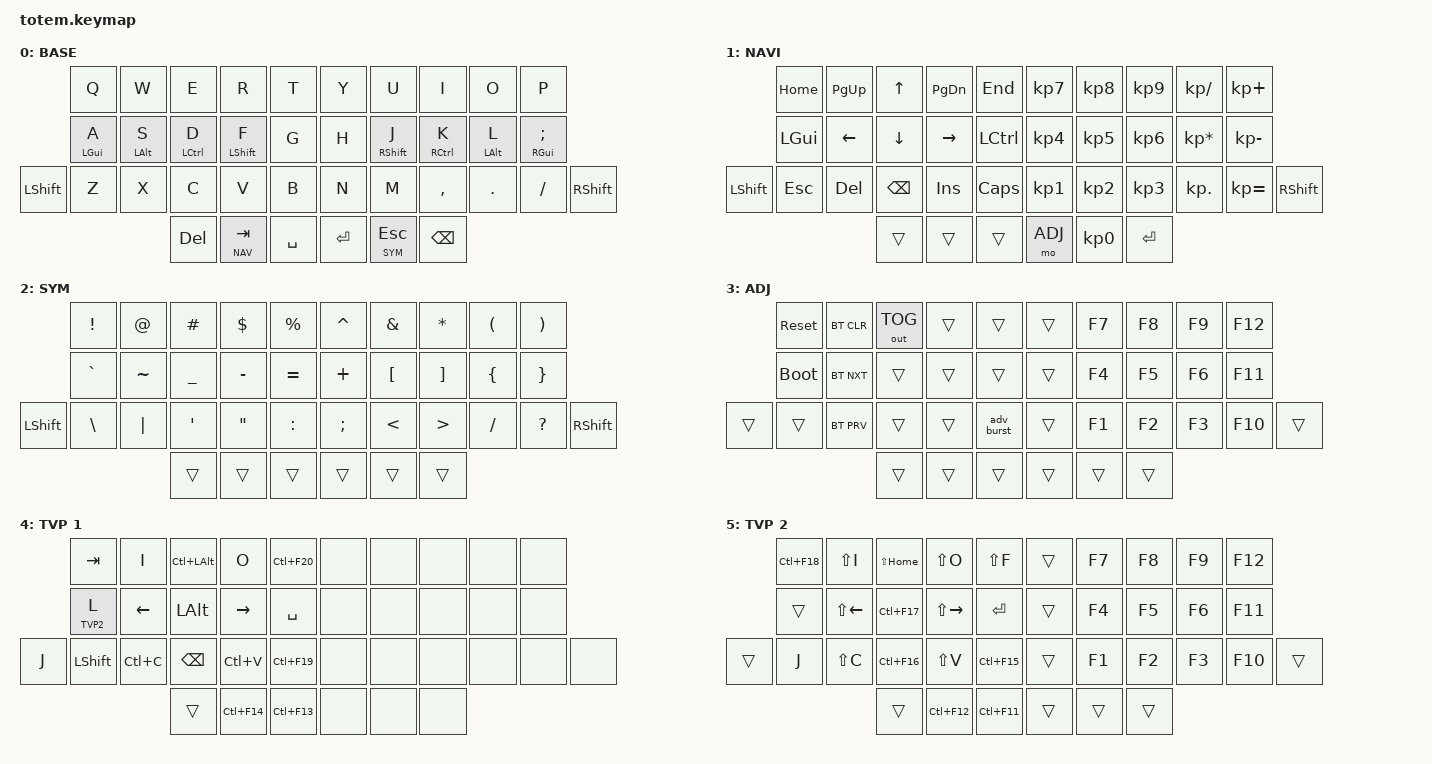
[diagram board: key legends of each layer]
//
//                                                        ▀▀▀▀▀     ▀▀▀▀▀          ▀▀█▀▀
//                                                        ▄▀▀▀▄  ▄  ▄▀▀▀▄  ▄  ▄▀▀▀▄  █  ▄▀▀▀▄
//                                                        █   █  █  █   █  █  █   █  █  █   █
//                                                         ▀▀▀   █   ▀▀▀   █   ▀▀▀   ▀   ▀▀▀
//                                                               █      ▄▄▄█▄▄▄    █   █  
//                                                               ▀      █  █  █     █▄█
//                                                             ▀▀▀▀▀    █  █  █      ▀
//                                                                      ▀  ▀  ▀
//
// ▄▄▄▄▄▄▄▄▄▄▄▄▄▄▄▄▄▄▄▄▄▄▄▄▄▄▄▄▄▄▄▄▄▄▄▄▄▄▄▄▄▄▄▄▄▄▄▄▄▄▄▄▄▄▄▄▄▄▄▄▄▄▄▄▄▄▄▄▄▄▄▄▄▄▄▄▄▄▄▄▄▄▄▄▄▄▄▄▄▄▄▄▄▄▄▄▄▄▄▄▄▄▄▄▄▄▄▄▄▄▄▄▄▄▄▄▄▄▄▄▄▄▄▄▄▄▄▄▄▄▄▄▄▄▄▄▄▄▄▄▄▄▄▄▄▄▄▄▄
       

#include <behaviors.dtsi>
#include <dt-bindings/zmk/keys.h>
#include <dt-bindings/zmk/bt.h>
#include <dt-bindings/zmk/outputs.h>

#define BASE 0
#define NAV  1
#define SYM  2
#define ADJ  3
#define TVP1 4
#define TVP2 5

&mt {
  quick-tap-ms = <100>;
  global-quick-tap;
  flavor = "tap-preferred";
  tapping-term-ms = <170>;
};

/ {
    behaviors {
        // Advertise for 10s without dropping the host connection, so the web status page can find the keyboard
        adv_burst: adv_burst {
            compatible = "totem,behavior-adv-burst";
            #binding-cells = <0>;
            display-name = "Advertise 10s";
            duration-ms = <10000>;
        };
    };

     combos {
            compatible = "zmk,combos";
            combo_esc {
                timeout-ms = <50>;
                key-positions = <0 1>;
                bindings = <&kp ESC>;
            };
            combo_tvp {
                timeout-ms = <100>;
                key-positions = <11 12 13>;
                bindings = <&tog TVP1>;
            };
    };

    macros {
        gif: gif {
            label = "giphy";
            compatible = "zmk,behavior-macro";
            #binding-cells = <0>;
            bindings
                = <&macro_press &kp LSHFT>
                , <&macro_tap &kp N2>
                , <&macro_release &kp LSHFT>
                , <&macro_tap &kp G &kp I &kp F>
                ;
        };
    };

        keymap {
                compatible = "zmk,keymap";
// ▄▄▄▄▄▄▄▄▄▄▄▄▄▄▄▄▄▄▄▄▄▄▄▄▄▄▄▄▄▄▄▄▄▄▄▄▄▄▄▄▄▄▄▄▄▄▄▄▄▄▄▄▄▄▄▄▄▄▄▄▄▄▄▄▄▄▄▄▄▄▄▄▄▄▄▄▄▄▄▄▄▄▄▄▄▄▄▄▄▄▄▄▄▄▄▄▄▄▄▄▄▄▄▄▄▄▄▄▄▄▄▄▄▄▄▄▄▄▄▄▄▄▄▄▄▄▄▄▄▄▄▄▄▄▄▄▄▄▄▄▄▄▄▄▄▄▄▄▄

                base_layer {
// ┏━━━━━━━━━━━━━━━━━━━━━━━━━━━━━━━━━━━━━━━┓
label= "BASE"                              ;
// ┗━━━━━━━━━━━━━━━━━━━━━━━━━━━━━━━━━━━━━━━┛
//             ┏━━━━━━━━━━━┳━━━━━━━━━━━┳━━━━━━━━━━━┳━━━━━━━━━━━┳━━━━━━━━━━━┓   ┏━━━━━━━━━━━┳━━━━━━━━━━━┳━━━━━━━━━━━┳━━━━━━━━━━━┳━━━━━━━━━━━┓
//             ┃     Q     ┃     W     ┃     E     ┃     R     ┃     T     ┃   ┃     Y     ┃     U     ┃     I     ┃     O     ┃     P     ┃
//             ┣━━━━━━━━━━━╋━━━━━━━━━━━╋━━━━━━━━━━━╋━━━━━━━━━━━╋━━━━━━━━━━━┫   ┣━━━━━━━━━━━╋━━━━━━━━━━━╋━━━━━━━━━━━╋━━━━━━━━━━━╋━━━━━━━━━━━┫
//             ┃ A/CMD     ┃ S/OPT     ┃ D/CTRL    ┃ F/SHIFT   ┃     G     ┃   ┃     H     ┃ J/SHIFT   ┃ K/CTRL    ┃ L/OPT     ┃ ;/CMD     ┃
// ┏━━━━━━━━━━━╋━━━━━━━━━━━╋━━━━━━━━━━━╋━━━━━━━━━━━╋━━━━━━━━━━━╋━━━━━━━━━━━┫   ┣━━━━━━━━━━━╋━━━━━━━━━━━╋━━━━━━━━━━━╋━━━━━━━━━━━╋━━━━━━━━━━━╋━━━━━━━━━━━┓
// ┃   SHIFT   ┃     Z     ┃     X     ┃     C     ┃     V     ┃     B     ┃   ┃     N     ┃     M     ┃     ,     ┃     .     ┃     /     ┃   SHIFT   ┃
// ┗━━━━━━━━━━━┻━━━━━━━━━━━┻━━━━━━━━━━━╋━━━━━━━━━━━╋━━━━━━━━━━━╋━━━━━━━━━━━┫   ┣━━━━━━━━━━━╋━━━━━━━━━━━╋━━━━━━━━━━━╋━━━━━━━━━━━┻━━━━━━━━━━━┻━━━━━━━━━━━┛
//                                     ┃    DEL    ┃    TAB    ┃    SPC    ┃   ┃   ENTER   ┃           ┃   BSPC    ┃
//                                     ┗━━━━━━━━━━━┻━━━━━━━━━━━┻━━━━━━━━━━━┛   ┗━━━━━━━━━━━┻━━━━━━━━━━━┻━━━━━━━━━━━┛
 bindings = <
// ╷           ╷           ╷           ╷           ╷           ╷           ╷   ╷           ╷           ╷           ╷           ╷           ╷           ╷

                &kp Q       &kp W       &kp E       &kp R       &kp T           &kp Y       &kp U       &kp I       &kp O       &kp P
                &mt LGUI A  &mt LALT S  &mt LCTRL D &mt LSHFT F &kp G           &kp H       &mt RSHFT J &mt RCTRL K &mt LALT L  &mt RGUI SEMI
    &kp LSHFT   &kp Z       &kp X       &kp C       &kp V       &kp B           &kp N       &kp M       &kp COMMA   &kp DOT     &kp FSLH    &kp RSHFT
                                        &kp DEL   &lt NAV TAB   &kp SPACE       &kp RET   &lt SYM ESC   &kp BSPC
                        >;
                };

// ▄▄▄▄▄▄▄▄▄▄▄▄▄▄▄▄▄▄▄▄▄▄▄▄▄▄▄▄▄▄▄▄▄▄▄▄▄▄▄▄▄▄▄▄▄▄▄▄▄▄▄▄▄▄▄▄▄▄▄▄▄▄▄▄▄▄▄▄▄▄▄▄▄▄▄▄▄▄▄▄▄▄▄▄▄▄▄▄▄▄▄▄▄▄▄▄▄▄▄▄▄▄▄▄▄▄▄▄▄▄▄▄▄▄▄▄▄▄▄▄▄▄▄▄▄▄▄▄▄▄▄▄▄▄▄▄▄▄▄▄▄▄▄▄▄▄▄▄▄


                nav_layer {
// ┏━━━━━━━━━━━━━━━━━━━━━━━━━━━━━━━━━━━━━━━┓
label= "NAVI"                              ;
// ┗━━━━━━━━━━━━━━━━━━━━━━━━━━━━━━━━━━━━━━━┛
//             ┏━━━━━━━━━━━┳━━━━━━━━━━━┳━━━━━━━━━━━┳━━━━━━━━━━━┳━━━━━━━━━━━┓   ┏━━━━━━━━━━━┳━━━━━━━━━━━┳━━━━━━━━━━━┳━━━━━━━━━━━┳━━━━━━━━━━━┓
//             ┃   HOME    ┃  PAGE UP  ┃     UP    ┃ PAGE DOWN ┃    END    ┃   ┃     7     ┃     8     ┃     9     ┃     /     ┃     +     ┃
//             ┣━━━━━━━━━━━╋━━━━━━━━━━━╋━━━━━━━━━━━╋━━━━━━━━━━━╋━━━━━━━━━━━┫   ┣━━━━━━━━━━━╋━━━━━━━━━━━╋━━━━━━━━━━━╋━━━━━━━━━━━╋━━━━━━━━━━━┫
//             ┃  COMMAND  ┃   LEFT    ┃    DOWN   ┃   RIGHT   ┃  CONTROL  ┃   ┃     4     ┃     5     ┃     6     ┃     *     ┃     -     ┃
// ┏━━━━━━━━━━━╋━━━━━━━━━━━╋━━━━━━━━━━━╋━━━━━━━━━━━╋━━━━━━━━━━━╋━━━━━━━━━━━┫   ┣━━━━━━━━━━━╋━━━━━━━━━━━╋━━━━━━━━━━━╋━━━━━━━━━━━╋━━━━━━━━━━━╋━━━━━━━━━━━┓
// ┃   SHIFT   ┃    ESC    ┃    DEL    ┃ BACKSPACE ┃   INSERT  ┃ CAPS LOCK ┃   ┃     1     ┃     2     ┃     3     ┃     .     ┃     =     ┃   SHIFT   ┃
// ┗━━━━━━━━━━━┻━━━━━━━━━━━┻━━━━━━━━━━━╋━━━━━━━━━━━╋━━━━━━━━━━━╋━━━━━━━━━━━┫   ┣━━━━━━━━━━━╋━━━━━━━━━━━╋━━━━━━━━━━━╋━━━━━━━━━━━┻━━━━━━━━━━━┻━━━━━━━━━━━┛
//                                     ┃           ┃           ┃           ┃   ┃    ADJ    ┃     0     ┃   ENTER   ┃
//                                     ┗━━━━━━━━━━━┻━━━━━━━━━━━┻━━━━━━━━━━━┛   ┗━━━━━━━━━━━┻━━━━━━━━━━━┻━━━━━━━━━━━┛
 bindings = <
// ╷           ╷           ╷           ╷           ╷           ╷           ╷   ╷           ╷           ╷           ╷           ╷           ╷           ╷

                &kp HOME    &kp PG_UP   &kp UP      &kp PG_DN   &kp END         &kp KP_N7   &kp KP_N8   &kp KP_N9   &kp KP_DIVIDE &kp KP_PLUS
                &kp LGUI    &kp LEFT    &kp DOWN    &kp RIGHT   &kp LCTRL       &kp KP_N4   &kp KP_N5   &kp KP_N6   &kp KP_MULTIPLY &kp KP_MINUS
    &kp LSHFT   &kp ESC     &kp DEL     &kp BSPC    &kp INS     &kp CAPS        &kp KP_N1   &kp KP_N2   &kp KP_N3   &kp KP_DOT  &kp KP_EQUAL &kp RSHFT
                                        &trans      &trans      &trans          &mo ADJ     &kp KP_N0   &kp RET
                        >;
                };

// ▄▄▄▄▄▄▄▄▄▄▄▄▄▄▄▄▄▄▄▄▄▄▄▄▄▄▄▄▄▄▄▄▄▄▄▄▄▄▄▄▄▄▄▄▄▄▄▄▄▄▄▄▄▄▄▄▄▄▄▄▄▄▄▄▄▄▄▄▄▄▄▄▄▄▄▄▄▄▄▄▄▄▄▄▄▄▄▄▄▄▄▄▄▄▄▄▄▄▄▄▄▄▄▄▄▄▄▄▄▄▄▄▄▄▄▄▄▄▄▄▄▄▄▄▄▄▄▄▄▄▄▄▄▄▄▄▄▄▄▄▄▄▄▄▄▄▄▄▄


                sim_layer {
// ┏━━━━━━━━━━━━━━━━━━━━━━━━━━━━━━━━━━━━━━━┓
label= "SYM"                               ;
// ┗━━━━━━━━━━━━━━━━━━━━━━━━━━━━━━━━━━━━━━━┛
//             ┏━━━━━━━━━━━┳━━━━━━━━━━━┳━━━━━━━━━━━┳━━━━━━━━━━━┳━━━━━━━━━━━┓   ┏━━━━━━━━━━━┳━━━━━━━━━━━┳━━━━━━━━━━━┳━━━━━━━━━━━┳━━━━━━━━━━━┓
//             ┃     !     ┃     @     ┃     #     ┃     $     ┃     %     ┃   ┃     ^     ┃     &     ┃     *     ┃     (     ┃     )     ┃
//             ┣━━━━━━━━━━━╋━━━━━━━━━━━╋━━━━━━━━━━━╋━━━━━━━━━━━╋━━━━━━━━━━━┫   ┣━━━━━━━━━━━╋━━━━━━━━━━━╋━━━━━━━━━━━╋━━━━━━━━━━━╋━━━━━━━━━━━┫
//             ┃     `     ┃     ~     ┃     _     ┃     -     ┃     =     ┃   ┃     +     ┃     [     ┃     ]     ┃     {     ┃     }     ┃
// ┏━━━━━━━━━━━╋━━━━━━━━━━━╋━━━━━━━━━━━╋━━━━━━━━━━━╋━━━━━━━━━━━╋━━━━━━━━━━━┫   ┣━━━━━━━━━━━╋━━━━━━━━━━━╋━━━━━━━━━━━╋━━━━━━━━━━━╋━━━━━━━━━━━╋━━━━━━━━━━━┓
// ┃   SHIFT   ┃     \     ┃     |     ┃     '     ┃     "     ┃     :     ┃   ┃     ;     ┃     <     ┃     >     ┃     /     ┃     ?     ┃   SHIFT   ┃
// ┗━━━━━━━━━━━┻━━━━━━━━━━━┻━━━━━━━━━━━╋━━━━━━━━━━━╋━━━━━━━━━━━╋━━━━━━━━━━━┫   ┣━━━━━━━━━━━╋━━━━━━━━━━━╋━━━━━━━━━━━╋━━━━━━━━━━━┻━━━━━━━━━━━┻━━━━━━━━━━━┛
//                                     ┃           ┃           ┃           ┃   ┃           ┃           ┃           ┃
//                                     ┗━━━━━━━━━━━┻━━━━━━━━━━━┻━━━━━━━━━━━┛   ┗━━━━━━━━━━━┻━━━━━━━━━━━┻━━━━━━━━━━━┛
 bindings = <
// ╷           ╷           ╷           ╷           ╷           ╷           ╷   ╷           ╷           ╷           ╷           ╷           ╷           ╷

                &kp EXCL    &kp AT      &kp HASH    &kp DLLR    &kp PRCNT       &kp CARET   &kp AMPS    &kp STAR    &kp LPAR    &kp RPAR
                &kp GRAVE   &kp TILDE   &kp UNDER   &kp MINUS   &kp EQUAL       &kp PLUS    &kp LBKT    &kp RBKT    &kp LBRC    &kp RBRC
    &kp LSHFT   &kp BSLH    &kp PIPE    &kp SQT     &kp DQT     &kp COLON       &kp SEMI    &kp LT      &kp GT      &kp FSLH    &kp QMARK   &kp RSHFT
                                        &trans      &trans      &trans          &trans      &trans      &trans
                        >;
                };

// ▄▄▄▄▄▄▄▄▄▄▄▄▄▄▄▄▄▄▄▄▄▄▄▄▄▄▄▄▄▄▄▄▄▄▄▄▄▄▄▄▄▄▄▄▄▄▄▄▄▄▄▄▄▄▄▄▄▄▄▄▄▄▄▄▄▄▄▄▄▄▄▄▄▄▄▄▄▄▄▄▄▄▄▄▄▄▄▄▄▄▄▄▄▄▄▄▄▄▄▄▄▄▄▄▄▄▄▄▄▄▄▄▄▄▄▄▄▄▄▄▄▄▄▄▄▄▄▄▄▄▄▄▄▄▄▄▄▄▄▄▄▄▄▄▄▄▄▄▄


                adjust_layer {
// ┏━━━━━━━━━━━━━━━━━━━━━━━━━━━━━━━━━━━━━━━┓
label= "ADJ"                               ;
// ┗━━━━━━━━━━━━━━━━━━━━━━━━━━━━━━━━━━━━━━━┛
//             ┏━━━━━━━━━━━┳━━━━━━━━━━━┳━━━━━━━━━━━┳━━━━━━━━━━━┳━━━━━━━━━━━┓   ┏━━━━━━━━━━━┳━━━━━━━━━━━┳━━━━━━━━━━━┳━━━━━━━━━━━┳━━━━━━━━━━━┓
//             ┃   RESET   ┃ BT CLEAR  ┃  OUT TOG  ┃           ┃           ┃   ┃           ┃    F7     ┃    F8     ┃    F9     ┃    F12    ┃
//             ┣━━━━━━━━━━━╋━━━━━━━━━━━╋━━━━━━━━━━━╋━━━━━━━━━━━╋━━━━━━━━━━━┫   ┣━━━━━━━━━━━╋━━━━━━━━━━━╋━━━━━━━━━━━╋━━━━━━━━━━━╋━━━━━━━━━━━┫
//             ┃ BOOTLOAD  ┃ BT NEXT   ┃           ┃           ┃           ┃   ┃           ┃    F4     ┃    F5     ┃    F6     ┃    F11    ┃
// ┏━━━━━━━━━━━╋━━━━━━━━━━━╋━━━━━━━━━━━╋━━━━━━━━━━━╋━━━━━━━━━━━╋━━━━━━━━━━━┫   ┣━━━━━━━━━━━╋━━━━━━━━━━━╋━━━━━━━━━━━╋━━━━━━━━━━━╋━━━━━━━━━━━╋━━━━━━━━━━━┓
// ┃           ┃           ┃ BT PREV   ┃           ┃           ┃ BT ADV 10s┃   ┃           ┃    F1     ┃    F2     ┃    F3     ┃    F10    ┃           ┃
// ┗━━━━━━━━━━━┻━━━━━━━━━━━┻━━━━━━━━━━━╋━━━━━━━━━━━╋━━━━━━━━━━━╋━━━━━━━━━━━┫   ┣━━━━━━━━━━━╋━━━━━━━━━━━╋━━━━━━━━━━━╋━━━━━━━━━━━┻━━━━━━━━━━━┻━━━━━━━━━━━┛
//                                     ┃           ┃           ┃           ┃   ┃           ┃           ┃           ┃
//                                     ┗━━━━━━━━━━━┻━━━━━━━━━━━┻━━━━━━━━━━━┛   ┗━━━━━━━━━━━┻━━━━━━━━━━━┻━━━━━━━━━━━┛
 bindings = <
// ╷           ╷           ╷           ╷           ╷           ╷           ╷   ╷           ╷           ╷           ╷           ╷           ╷           ╷

                &sys_reset  &bt BT_CLR &out OUT_TOG &trans      &trans          &trans      &kp F7      &kp F8      &kp F9      &kp F12
                &bootloader &bt BT_NXT  &trans      &trans      &trans          &trans      &kp F4      &kp F5      &kp F6      &kp F11  
    &trans      &trans      &bt BT_PRV  &trans      &trans      &adv_burst      &trans      &kp F1      &kp F2      &kp F3      &kp F10     &trans         
                                        &trans      &trans      &trans          &trans      &trans      &trans      
                        >;
                };

// ▄▄▄▄▄▄▄▄▄▄▄▄▄▄▄▄▄▄▄▄▄▄▄▄▄▄▄▄▄▄▄▄▄▄▄▄▄▄▄▄▄▄▄▄▄▄▄▄▄▄▄▄▄▄▄▄▄▄▄▄▄▄▄▄▄▄▄▄▄▄▄▄▄▄▄▄▄▄▄▄▄▄▄▄▄▄▄▄▄▄▄▄▄▄▄▄▄▄▄▄▄▄▄▄▄▄▄▄▄▄▄▄▄▄▄▄▄▄▄▄▄▄▄▄▄▄▄▄▄▄▄▄▄▄▄▄▄▄▄▄▄▄▄▄▄▄▄▄▄


                tvp1_layer {
// ┏━━━━━━━━━━━━━━━━━━━━━━━━━━━━━━━━━━━━━━━┓
label= "TVP 1"                             ;
// ┗━━━━━━━━━━━━━━━━━━━━━━━━━━━━━━━━━━━━━━━┛
//             ┏━━━━━━━━━━━┳━━━━━━━━━━━┳━━━━━━━━━━━┳━━━━━━━━━━━┳━━━━━━━━━━━┓   ┏━━━━━━━━━━━┳━━━━━━━━━━━┳━━━━━━━━━━━┳━━━━━━━━━━━┳━━━━━━━━━━━┓
//             ┃ NEXT FILE ┃ MARK IN   ┃ ROTATE    ┃ MARK OUT  ┃ SHOW SNAP ┃   ┃           ┃           ┃           ┃           ┃           ┃
//             ┣━━━━━━━━━━━╋━━━━━━━━━━━╋━━━━━━━━━━━╋━━━━━━━━━━━╋━━━━━━━━━━━┫   ┣━━━━━━━━━━━╋━━━━━━━━━━━╋━━━━━━━━━━━╋━━━━━━━━━━━╋━━━━━━━━━━━┫
//             ┃ TVP II    ┃ LEFT      ┃ PAN       ┃ RIGHT     ┃ PLAY/FLIP ┃   ┃           ┃           ┃           ┃           ┃           ┃
// ┏━━━━━━━━━━━╋━━━━━━━━━━━╋━━━━━━━━━━━╋━━━━━━━━━━━╋━━━━━━━━━━━╋━━━━━━━━━━━┫   ┣━━━━━━━━━━━╋━━━━━━━━━━━╋━━━━━━━━━━━╋━━━━━━━━━━━╋━━━━━━━━━━━╋━━━━━━━━━━━┓
// ┃ FULLSCR   ┃ SHIFT     ┃ COPY      ┃ DELETE    ┃ PASTE     ┃ IMG MARK  ┃   ┃           ┃           ┃           ┃           ┃           ┃           ┃
// ┗━━━━━━━━━━━┻━━━━━━━━━━━┻━━━━━━━━━━━╋━━━━━━━━━━━╋━━━━━━━━━━━╋━━━━━━━━━━━┫   ┣━━━━━━━━━━━╋━━━━━━━━━━━╋━━━━━━━━━━━╋━━━━━━━━━━━┻━━━━━━━━━━━┻━━━━━━━━━━━┛
//                                     ┃           ┃ UNDO/SAVE ┃  SEL/MOV  ┃   ┃           ┃           ┃           ┃
//                                     ┗━━━━━━━━━━━┻━━━━━━━━━━━┻━━━━━━━━━━━┛   ┗━━━━━━━━━━━┻━━━━━━━━━━━┻━━━━━━━━━━━┛
 bindings = <
// ╷           ╷           ╷           ╷           ╷           ╷           ╷   ╷           ╷           ╷           ╷           ╷           ╷           ╷

                &kp TAB     &kp I       &kp LC(LALT) &kp O      &kp LC(F20)     &none       &none       &none       &none       &none
                &lt TVP2 L  &kp LEFT    &kp LALT    &kp RIGHT   &kp SPACE       &none       &none       &none       &none       &none
    &kp J       &kp LSHFT   &kp LC(C)   &kp BSPC    &kp LC(V)   &kp LC(F19)     &none       &none       &none       &none       &none       &none        
                                        &trans      &kp LC(F14) &kp LC(F13)     &none       &none       &none    
                        >;
                };

// ▄▄▄▄▄▄▄▄▄▄▄▄▄▄▄▄▄▄▄▄▄▄▄▄▄▄▄▄▄▄▄▄▄▄▄▄▄▄▄▄▄▄▄▄▄▄▄▄▄▄▄▄▄▄▄▄▄▄▄▄▄▄▄▄▄▄▄▄▄▄▄▄▄▄▄▄▄▄▄▄▄▄▄▄▄▄▄▄▄▄▄▄▄▄▄▄▄▄▄▄▄▄▄▄▄▄▄▄▄▄▄▄▄▄▄▄▄▄▄▄▄▄▄▄▄▄▄▄▄▄▄▄▄▄▄▄▄▄▄▄▄▄▄▄▄▄▄▄▄


                tvp2_layer {
// ┏━━━━━━━━━━━━━━━━━━━━━━━━━━━━━━━━━━━━━━━┓
label= "TVP 2"                             ;
// ┗━━━━━━━━━━━━━━━━━━━━━━━━━━━━━━━━━━━━━━━┛
//             ┏━━━━━━━━━━━┳━━━━━━━━━━━┳━━━━━━━━━━━┳━━━━━━━━━━━┳━━━━━━━━━━━┓   ┏━━━━━━━━━━━┳━━━━━━━━━━━┳━━━━━━━━━━━┳━━━━━━━━━━━┳━━━━━━━━━━━┓
//             ┃ SOLO      ┃ TOGGLE IN ┃ RESET ROT ┃ TOGGLE OUT┃ TAKE SNAP ┃   ┃           ┃           ┃           ┃           ┃           ┃
//             ┣━━━━━━━━━━━╋━━━━━━━━━━━╋━━━━━━━━━━━╋━━━━━━━━━━━╋━━━━━━━━━━━┫   ┣━━━━━━━━━━━╋━━━━━━━━━━━╋━━━━━━━━━━━╋━━━━━━━━━━━╋━━━━━━━━━━━┫
//             ┃ ---       ┃ LAST KEY  ┃ NEW KEY   ┃ NEXT KEY  ┃ ENTER     ┃   ┃           ┃           ┃           ┃           ┃           ┃
// ┏━━━━━━━━━━━╋━━━━━━━━━━━╋━━━━━━━━━━━╋━━━━━━━━━━━╋━━━━━━━━━━━╋━━━━━━━━━━━┫   ┣━━━━━━━━━━━╋━━━━━━━━━━━╋━━━━━━━━━━━╋━━━━━━━━━━━╋━━━━━━━━━━━╋━━━━━━━━━━━┓
// ┃           ┃ FULLSCR   ┃ CPY2BRUSH ┃ DEL HEAD  ┃ PSTinPLACE┃ BOOK MARK ┃   ┃           ┃           ┃           ┃           ┃           ┃           ┃
// ┗━━━━━━━━━━━┻━━━━━━━━━━━┻━━━━━━━━━━━╋━━━━━━━━━━━╋━━━━━━━━━━━╋━━━━━━━━━━━┫   ┣━━━━━━━━━━━╋━━━━━━━━━━━╋━━━━━━━━━━━╋━━━━━━━━━━━┻━━━━━━━━━━━┻━━━━━━━━━━━┛
//                                     ┃           ┃ REDO/SAV1 ┃TRANS/WARP ┃   ┃           ┃           ┃           ┃
//                                     ┗━━━━━━━━━━━┻━━━━━━━━━━━┻━━━━━━━━━━━┛   ┗━━━━━━━━━━━┻━━━━━━━━━━━┻━━━━━━━━━━━┛
 bindings = <
// ╷           ╷           ╷           ╷           ╷           ╷           ╷   ╷           ╷           ╷           ╷           ╷           ╷           ╷

                &kp LC(F18) &kp LS(I)  &kp LS(HOME) &kp LS(O)   &kp LS(F)       &trans      &kp F7      &kp F8      &kp F9      &kp F12
                &trans      &kp LS(LEFT) &kp LC(F17) &kp LS(RIGHT) &kp RET      &trans      &kp F4      &kp F5      &kp F6      &kp F11  
    &trans      &kp J       &kp LS(C)   &kp LC(F16) &kp LS(V)   &kp LC(F15)     &trans      &kp F1      &kp F2      &kp F3      &kp F10     &trans         
                                        &trans      &kp LC(F12) &kp LC(F11)     &trans      &trans      &trans      
                        >;
                };
        };
};
